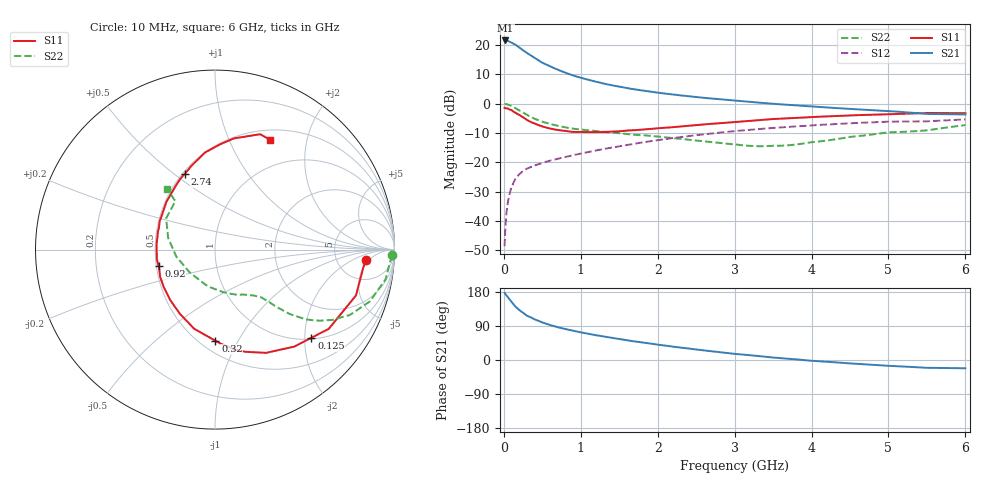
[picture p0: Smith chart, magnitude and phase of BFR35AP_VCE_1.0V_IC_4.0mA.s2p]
! Infineon Technologies  Discrete & RF Semiconductors
! BFR35AP
! VCE =  1.0 V,  IC =  4.0 mA
! Common Emitter S-Parameters:  Nov 2015
# GHz  S  MA  R  50
!  f  S11  S21  S12  S22
! GHz  MAG  ANG  MAG  ANG  MAG  ANG  MAG  ANG
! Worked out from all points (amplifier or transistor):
!   210 points, 10 MHz to 6 GHz, reference 50 ohm
!   highest |S21| = 21.5 dB at 20 MHz (marker M1)
!   |S21| within 3 dB of that: start of sweep to 231.7 MHz
!   unconditionally stable (mu >= 1): 793.5 MHz to end of sweep
!   at 185 MHz: K = 0.35, MSG = 22.0 dB, |S12| = -24.6 dB
!   at 1.52 GHz: K = 1.18, MAG = 7.5 dB, |S12| = -14.5 dB
!   at 6 GHz: K = 1.04, MAG = -0.4 dB, |S12| = -5.4 dB
!   S11 on the Smith chart (normalised r, x): 10 MHz: 10, -4; 125 MHz: 1.03, -2.16; 320 MHz: 0.59, -0.81; 920 MHz: 0.51, -0.11; 2.74 GHz: 0.51, +0.55; 6 GHz: 0.62, +1.43
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0.01  0.8431 -3.8  11.81 177.4  0.0037 86.9  0.9891 -1.9
0.02  0.8318 -7.1  11.88 174.1  0.0079 85.2  0.9783 -4.0
0.05  0.826 -18.0  11.76 165.9  0.0198 79.5  0.9647 -9.9
0.1  0.7723 -34.9  10.98 153.3  0.0377 71.7  0.9096 -18.5
0.125  0.728 -42.4  10.47 147.4  0.0445 67.4  0.8708 -22.0
0.15  0.6977 -50.8  10.08 140.9  0.0515 64.3  0.8356 -25.8
0.2  0.6417 -63.7  9.053 131.9  0.0622 59.1  0.7628 -30.9
0.26  0.5718 -78.0  7.908 122.6  0.0721 54.8  0.6851 -35.2
0.3  0.5254 -86.5  7.28 117.0  0.0775 53.0  0.6386 -37.5
0.32  0.5078 -89.7  7.003 115.3  0.0796 52.3  0.6204 -38.1
0.4  0.4564 -104.7  5.968 107.2  0.0879 49.8  0.5484 -40.8
0.5  0.4073 -118.8  4.961 99.0  0.0971 48.9  0.4888 -42.4
0.7  0.3542 -143.5  3.769 86.5  0.1143 48.7  0.4164 -44.2
0.92  0.3276 -163.5  2.95 76.3  0.1333 49.4  0.3699 -45.9
1.02  0.3272 -171.7  2.7 72.3  0.1419 49.6  0.3575 -47.0
1.4  0.3334 162.7  2.048 58.6  0.177 49.2  0.3208 -52.6
2.02  0.3805 134.9  1.518 40.1  0.2393 46.2  0.2721 -66.4
2.74  0.4543 111.8  1.205 22.2  0.3126 39.5  0.2169 -92.6
3.1  0.4942 103.8  1.095 14.5  0.3474 35.1  0.1943 -112.1
4.1  0.5955 85.7  0.873 -3.3  0.4316 22.3  0.2255 -175.4
5.1  0.662 73.1  0.729 -16.3  0.4911 8.7  0.3255 143.6
6  0.6841 63.5  0.651 -21.8  0.5364 -0.9  0.4287 128.3
